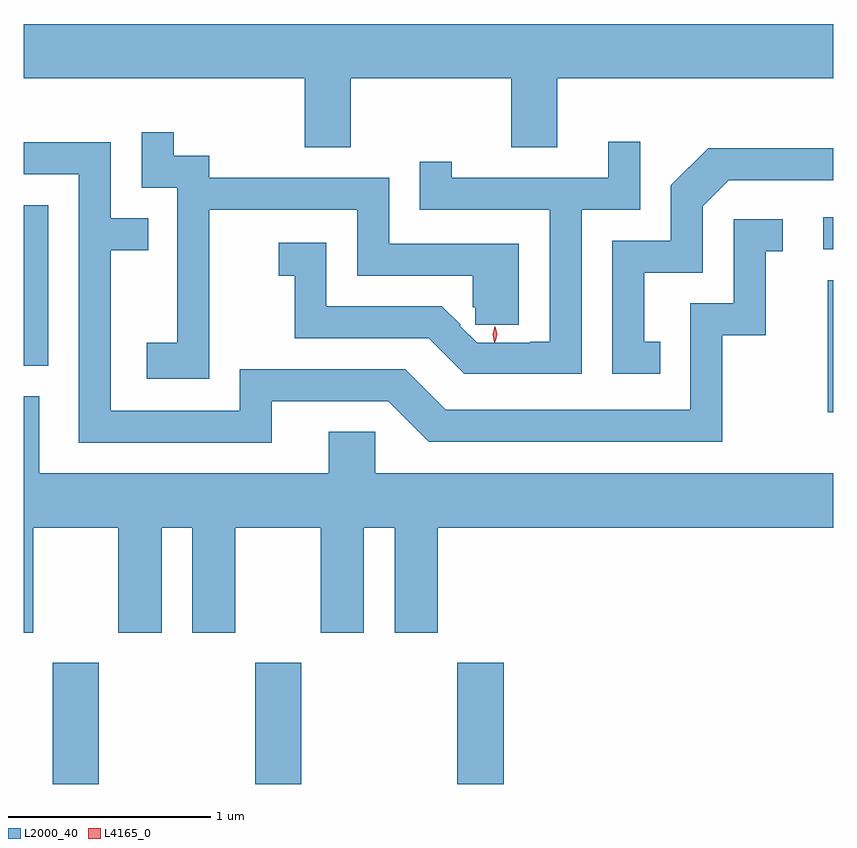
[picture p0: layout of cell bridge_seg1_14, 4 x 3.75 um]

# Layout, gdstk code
import gdstk
lib = gdstk.Library(unit=1e-6, precision=1e-09)
def R(c, l, rs):  # rectangles x0, y0, x1, y1
    for r in rs: c.add(gdstk.rectangle(r[:2], r[2:], *l))
def A(c, l, x, y, w, h, nx, ny, dx, dy):  # array of equal rectangles
    R(c, l, [(x+i*dx, y+j*dy, x+i*dx+w, y+j*dy+h) for i in range(nx) for j in range(ny)])
def P(c, l, *ps):  # polygons
    for p in ps: c.add(gdstk.Polygon(p, *l))
L2000_40 = (2000, 40)
L4165_0 = (4165, 0)

bridge_seg1_14 = lib.new_cell('bridge_seg1_14')
A(bridge_seg1_14, L2000_40, 1483.126, 862.789, 0.228, 0.6, 3, 1, 1, 0)
R(bridge_seg1_14, L2000_40, [(1486.956,864.626,1486.983,865.279), (1482.983,864.856,1483.104,865.649), (1486.933,865.431,1486.983,865.589)])
P(bridge_seg1_14, L2000_40, [(1482.983,866.276),(1484.371,866.276),(1484.371,865.936),(1484.599,865.936),(1484.599,866.276),(1485.391,866.276),(1485.391,865.936),(1485.619,865.936),(1485.619,866.276),(1486.983,866.276),(1486.983,866.544),(1482.983,866.544)],
  [(1483.899,865.626),(1484.631,865.626),(1484.631,865.301),(1485.202,865.301),(1485.202,865.145),(1485.213,865.145),(1485.213,865.057),(1485.429,865.057),(1485.429,865.459),(1484.789,865.459),(1484.789,865.784),(1483.899,865.784),(1483.899,865.894),(1483.724,865.894),(1483.724,866.008),(1483.566,866.008),(1483.566,865.736),(1483.741,865.736),(1483.741,864.969),(1483.591,864.969),(1483.591,864.791),(1483.899,864.791)],
  [(1485.739,865.626),(1486.029,865.626),(1486.029,865.963),(1485.871,865.963),(1485.871,865.784),(1485.099,865.784),(1485.099,865.863),(1484.941,865.863),(1484.941,865.626),(1485.581,865.626),(1485.581,864.974),(1485.485,864.974),(1485.485,864.969),(1485.223,864.969),(1485.138,865.053),(1485.142,865.057),(1485.049,865.149),(1484.479,865.149),(1484.479,865.464),(1484.243,865.464),(1484.243,865.301),(1484.321,865.301),(1484.321,864.991),(1484.984,864.991),(1485.159,864.816),(1485.739,864.816)],
  [(1484.209,864.681),(1484.784,864.681),(1484.984,864.481),(1486.434,864.481),(1486.434,865.006),(1486.649,865.006),(1486.649,865.421),(1486.733,865.421),(1486.733,865.579),(1486.491,865.579),(1486.491,865.164),(1486.276,865.164),(1486.276,864.639),(1485.067,864.639),(1484.867,864.839),(1484.051,864.839),(1484.051,864.634),(1483.414,864.634),(1483.414,865.426),(1483.598,865.426),(1483.598,865.584),(1483.414,865.584),(1483.414,865.959),(1482.983,865.959),(1482.983,865.801),(1483.256,865.801),(1483.256,864.476),(1484.209,864.476)],
  [(1486.128,864.974),(1486.049,864.974),(1486.049,865.316),(1486.339,865.316),(1486.339,865.644),(1486.467,865.771),(1486.983,865.771),(1486.983,865.929),(1486.364,865.929),(1486.181,865.747),(1486.181,865.474),(1485.891,865.474),(1485.891,864.816),(1486.128,864.816)],
  [(1483.029,864.056),(1483.451,864.056),(1483.451,863.536),(1483.664,863.536),(1483.664,864.056),(1483.816,864.056),(1483.816,863.536),(1484.029,863.536),(1484.029,864.056),(1484.451,864.056),(1484.451,863.536),(1484.664,863.536),(1484.664,864.056),(1484.816,864.056),(1484.816,863.536),(1485.029,863.536),(1485.029,864.056),(1486.983,864.056),(1486.983,864.324),(1484.719,864.324),(1484.719,864.529),(1484.491,864.529),(1484.491,864.324),(1483.059,864.324),(1483.059,864.704),(1482.983,864.704),(1482.983,863.536),(1483.029,863.536)])
P(bridge_seg1_14, L4165_0, [(1485.309,864.972),(1485.3,865.012),(1485.31,865.05),(1485.31,865.051),(1485.31,865.05),(1485.32,865.011),(1485.31,864.972),(1485.31,864.972)],
  [(1485.312,864.974),(1485.312,864.975),(1485.302,865.011),(1485.312,865.048),(1485.312,865.048),(1485.313,865.048),(1485.322,865.011),(1485.313,864.975)])

lib.write_gds('bridge_seg1_14.gds')
